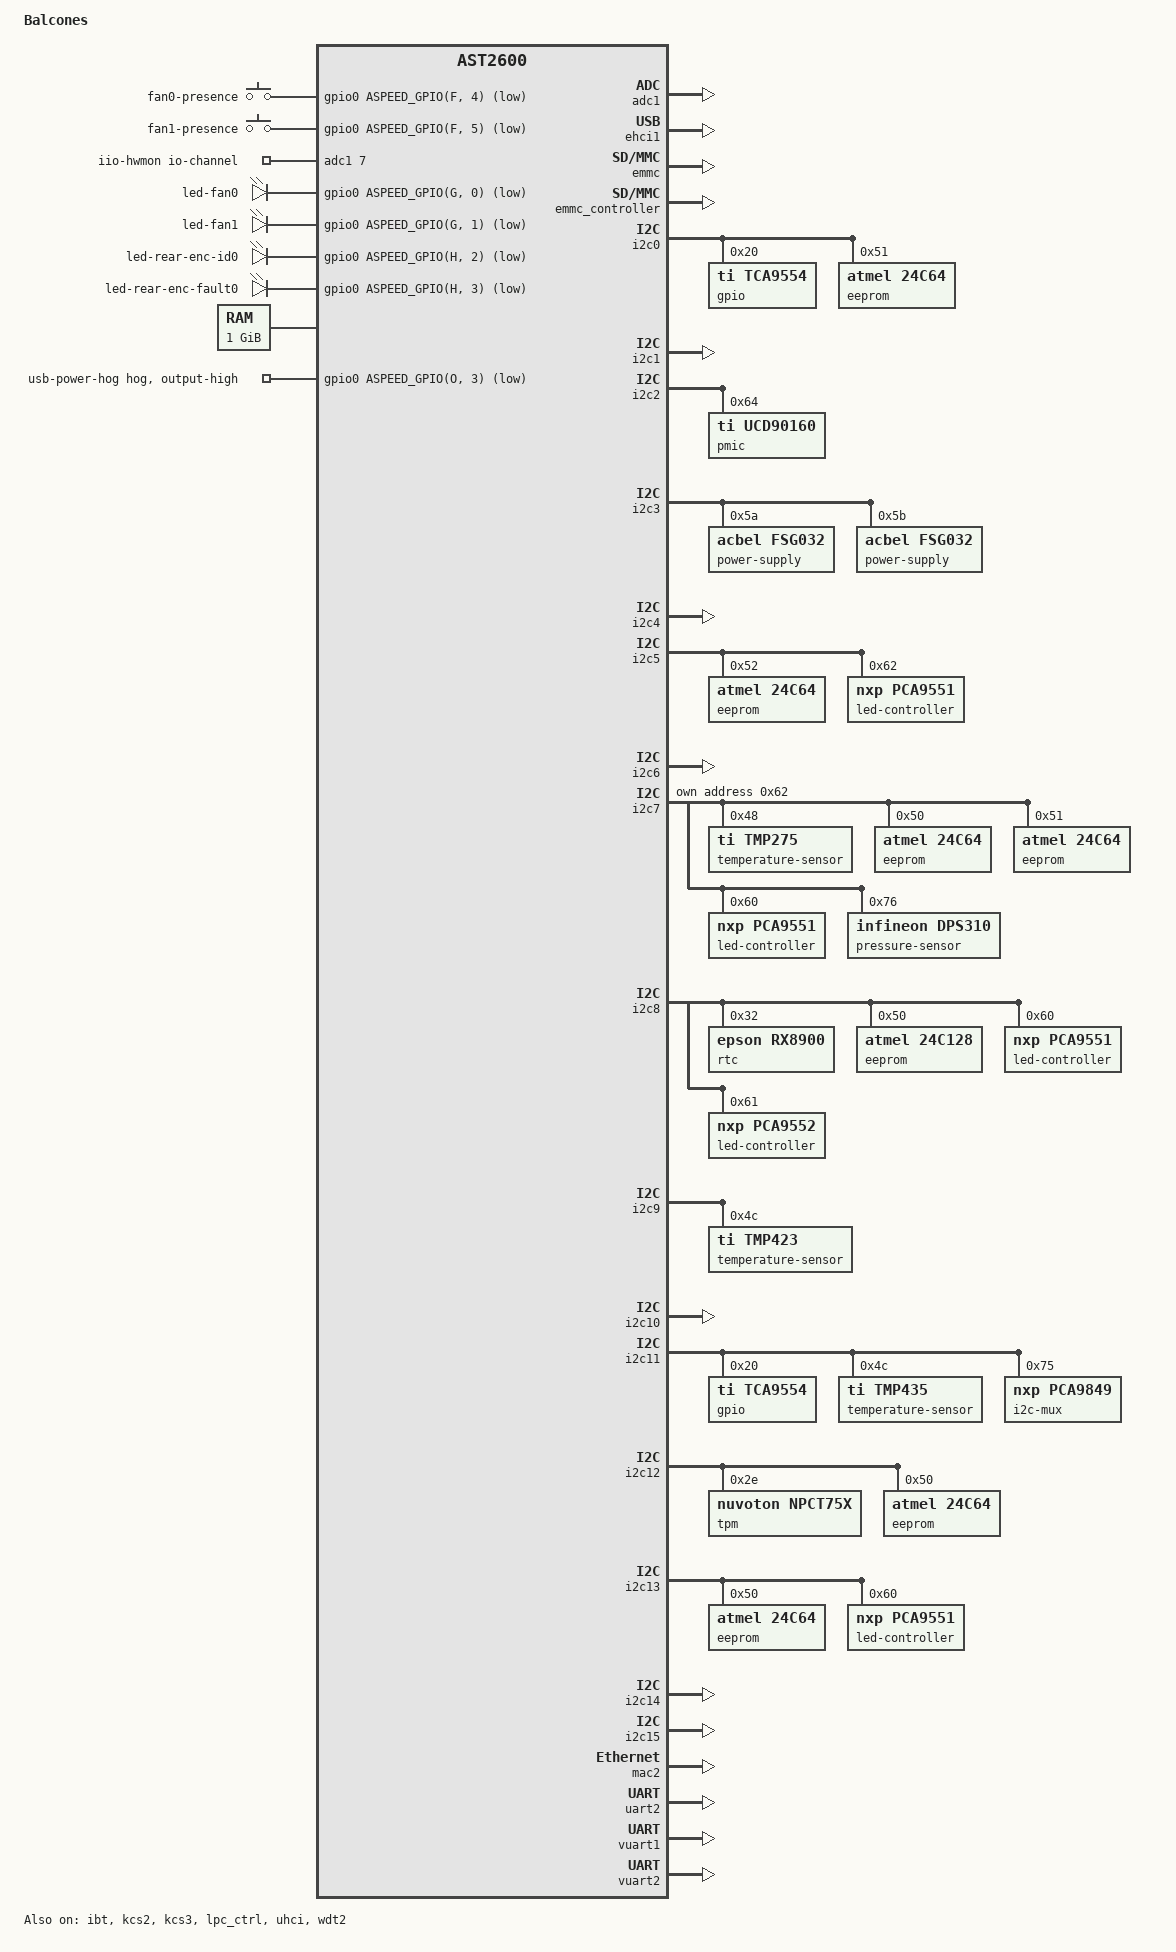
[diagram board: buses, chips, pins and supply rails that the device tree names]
// SPDX-License-Identifier: GPL-2.0-or-later
// Copyright 2025 IBM Corp.
/dts-v1/;

#include <dt-bindings/gpio/aspeed-gpio.h>
#include <dt-bindings/i2c/i2c.h>
#include <dt-bindings/leds/leds-pca955x.h>
#include "aspeed-g6.dtsi"
#include "ibm-power11-dual.dtsi"

/ {
	model = "Balcones";
	compatible = "ibm,balcones-bmc", "aspeed,ast2600";

	aliases {
		serial4 = &uart5;
		i2c16 = &i2c11mux0chn0;
		i2c17 = &i2c11mux0chn1;
		i2c18 = &i2c11mux0chn2;
		i2c19 = &i2c11mux0chn3;
	};

	chosen {
		stdout-path = &uart5;
	};

	gpio-keys-polled {
		compatible = "gpio-keys-polled";
		poll-interval = <1000>;

		event-fan0-presence {
			gpios = <&gpio0 ASPEED_GPIO(F, 4) GPIO_ACTIVE_LOW>;
			label = "fan0-presence";
			linux,code = <6>;
		};

		event-fan1-presence {
			gpios = <&gpio0 ASPEED_GPIO(F, 5) GPIO_ACTIVE_LOW>;
			label = "fan1-presence";
			linux,code = <7>;
		};
	};

	iio-hwmon {
		compatible = "iio-hwmon";
		io-channels = <&adc1 7>;
	};

	leds {
		compatible = "gpio-leds";

		led-fan0 {
			gpios = <&gpio0 ASPEED_GPIO(G, 0) GPIO_ACTIVE_LOW>;
		};

		led-fan1 {
			gpios = <&gpio0 ASPEED_GPIO(G, 1) GPIO_ACTIVE_LOW>;
		};

		led-rear-enc-id0 {
			gpios = <&gpio0 ASPEED_GPIO(H, 2) GPIO_ACTIVE_LOW>;
		};

		led-rear-enc-fault0 {
			gpios = <&gpio0 ASPEED_GPIO(H, 3) GPIO_ACTIVE_LOW>;
		};
	};

	memory@80000000 {
		device_type = "memory";
		reg = <0x80000000 0x40000000>;
	};

	reserved-memory {
		#address-cells = <1>;
		#size-cells = <1>;
		ranges;

		event_log: region@b3d00000 {
			reg = <0xb3d00000 0x100000>;
			no-map;
		};

		ramoops@b3e00000 {
			compatible = "ramoops";
			reg = <0xb3e00000 0x200000>; /* 16 * (4 * 0x8000) */
			record-size = <0x8000>;
			console-size = <0x8000>;
			ftrace-size = <0x8000>;
			pmsg-size = <0x8000>;
			max-reason = <3>; /* KMSG_DUMP_EMERG */
		};

		/* LPC FW cycle bridge region requires natural alignment */
		flash_memory: region@b4000000 {
			reg = <0xb4000000 0x04000000>; /* 64M */
			no-map;
		};

		/* VGA region is dictated by hardware strapping */
		vga_memory: region@bf000000 {
			compatible = "shared-dma-pool";
			reg = <0xbf000000 0x01000000>;  /* 16M */
			no-map;
		};
	};
};

&adc1 {
	aspeed,int-vref-microvolt = <2500000>;
	pinctrl-names = "default";
	pinctrl-0 = <&pinctrl_adc8_default &pinctrl_adc9_default
		&pinctrl_adc10_default &pinctrl_adc11_default
		&pinctrl_adc12_default &pinctrl_adc13_default
		&pinctrl_adc14_default &pinctrl_adc15_default>;
	status = "okay";
};

&ehci1 {
	status = "okay";
};

&emmc {
	clk-phase-mmc-hs200 = <180>, <180>;
	status = "okay";
};

&emmc_controller {
	status = "okay";
};

&gpio0 {
	gpio-line-names =
		/*A0-A7*/	"","","","","","","","",
		/*B0-B7*/	"","","","","","","checkstop","",
		/*C0-C7*/	"","","","","","","","",
		/*D0-D7*/	"","","","","","","","",
		/*E0-E7*/	"","","","","","","","",
		/*F0-F7*/	"","fan-ctlr-reset","rtc-battery-voltage-read-enable",
				"reset-cause-pinhole","","","","",
		/*G0-G7*/	"fan0","fan1","","","","","","",
		/*H0-H7*/	"","","rear-enc-id0","rear-enc-fault0","","","","",
		/*I0-I7*/	"","","","","","","bmc-secure-boot","",
		/*J0-J7*/	"","","","","","","","",
		/*K0-K7*/	"","","","","","","","",
		/*L0-L7*/	"","","","","","","","",
		/*M0-M7*/	"","","","","","","","",
		/*N0-N7*/	"","","","","","","","",
		/*O0-O7*/	"","","","usb-power","","","","",
		/*P0-P7*/	"","","","","","","","",
		/*Q0-Q7*/	"cfam-reset","","regulator-standby-faulted","","","","","",
		/*R0-R7*/	"bmc-tpm-reset","power-chassis-control","power-chassis-good","","",
				"","","",
		/*S0-S7*/	"presence-ps0","presence-ps1","","","power-ffs-sync-history","","",
				"",
		/*T0-T7*/	"","","","","","","","",
		/*U0-U7*/	"","","","","","","","",
		/*V0-V7*/	"","","","","","","","",
		/*W0-W7*/	"","","","","","","","",
		/*X0-X7*/	"","","","","","","","",
		/*Y0-Y7*/	"","","","","","","","",
		/*Z0-Z7*/	"","","","","","","","";

	usb-power-hog {
		gpio-hog;
		gpios = <ASPEED_GPIO(O, 3) GPIO_ACTIVE_LOW>;
		output-high;
	};
};

&i2c0 {
	status = "okay";

	gpio@20 {
		compatible = "ti,tca9554";
		reg = <0x20>;
		gpio-controller;
		#gpio-cells = <2>;

		gpio-line-names =
			"",
			"RUSSEL_FW_I2C_ENABLE_N",
			"RUSSEL_OPPANEL_PRESENCE_N",
			"BLYTH_OPPANEL_PRESENCE_N",
			"CPU_TPM_CARD_PRESENT_N",
			"",
			"",
			"DASD_BP_PRESENT_N";
	};

	eeprom@51 {
		compatible = "atmel,24c64";
		reg = <0x51>;
	};
};

&i2c1 {
	status = "okay";
};

&i2c2 {
	status = "okay";

	pmic@64 {
		compatible = "ti,ucd90160";
		reg = <0x64>;
	};
};

&i2c3 {
	status = "okay";

	power-supply@5a {
		compatible = "acbel,fsg032";
		reg = <0x5a>;
	};

	power-supply@5b {
		compatible = "acbel,fsg032";
		reg = <0x5b>;
	};
};

&i2c4 {
	status = "okay";
};

&i2c5 {
	status = "okay";

	eeprom@52 {
		compatible = "atmel,24c64";
		reg = <0x52>;
	};

	led-controller@62 {
		compatible = "nxp,pca9551";
		reg = <0x62>;
		#address-cells = <1>;
		#size-cells = <0>;
		gpio-controller;
		#gpio-cells = <2>;

		led@0 {
			reg = <0>;
			default-state = "keep";
			label = "cablecard2-cxp-top";
			retain-state-shutdown;
			type = <PCA955X_TYPE_LED>;
		};

		led@1 {
			reg = <1>;
			default-state = "keep";
			label = "cablecard2-cxp-bot";
			retain-state-shutdown;
			type = <PCA955X_TYPE_LED>;
		};
	};
};

&i2c6 {
	status = "okay";
};

&i2c7 {
	multi-master;
	status = "okay";

	temperature-sensor@48 {
		compatible = "ti,tmp275";
		reg = <0x48>;
	};

	eeprom@50 {
		compatible = "atmel,24c64";
		reg = <0x50>;
	};

	eeprom@51 {
		compatible = "atmel,24c64";
		reg = <0x51>;
	};

	pwm@53 {
		compatible = "maxim,max31785a";
		reg = <0x53>;
	};

	led-controller@60 {
		compatible = "nxp,pca9551";
		reg = <0x60>;
		#address-cells = <1>;
		#size-cells = <0>;
		gpio-controller;
		#gpio-cells = <2>;

		led@0 {
			reg = <0>;
			default-state = "keep";
			label = "front-sys-id0";
			retain-state-shutdown;
			type = <PCA955X_TYPE_LED>;
		};

		led@1 {
			reg = <1>;
			default-state = "keep";
			label = "front-check-log0";
			retain-state-shutdown;
			type = <PCA955X_TYPE_LED>;
		};

		led@2 {
			reg = <2>;
			default-state = "keep";
			label = "front-enc-fault1";
			retain-state-shutdown;
			type = <PCA955X_TYPE_LED>;
		};

		led@3 {
			reg = <3>;
			default-state = "keep";
			label = "front-sys-pwron0";
			retain-state-shutdown;
			type = <PCA955X_TYPE_LED>;
		};
	};

	lcd-controller@62 {
		compatible = "ibm,op-panel";
		reg = <(0x62 | I2C_OWN_SLAVE_ADDRESS)>;
	};

	pressure-sensor@76 {
		compatible = "infineon,dps310";
		reg = <0x76>;
		#io-channel-cells = <0>;
	};
};

&i2c8 {
	status = "okay";

	rtc@32 {
		compatible = "epson,rx8900";
		reg = <0x32>;
	};

	eeprom@50 {
		compatible = "atmel,24c128";
		reg = <0x50>;
	};

	led-controller@60 {
		compatible = "nxp,pca9551";
		reg = <0x60>;
		#address-cells = <1>;
		#size-cells = <0>;
		gpio-controller;
		#gpio-cells = <2>;

		gpio-line-names =
			"",
			"APSS_RESET_N",
			"",
			"N_MODE_CPU_N",
			"",
			"",
			"P10_DCM_PRESENT",
			"";
	};

	led-controller@61 {
		compatible = "nxp,pca9552";
		reg = <0x61>;
		#address-cells = <1>;
		#size-cells = <0>;
		gpio-controller;
		#gpio-cells = <2>;

		gpio-line-names =
			"",
			"",
			"SLOT2_PRSNT_EN_RSVD",
			"",
			"",
			"",
			"",
			"SLOT2_EXPANDER_PRSNT_N",
			"",
			"",
			"",
			"",
			"",
			"",
			"",
			"";
	};
};

&i2c9 {
	status = "okay";

	temperature-sensor@4c {
		compatible = "ti,tmp423";
		reg = <0x4c>;
	};
};

&i2c10 {
	status = "okay";
};

&i2c11 {
	status = "okay";

	gpio@20 {
		compatible = "ti,tca9554";
		reg = <0x20>;
		gpio-controller;
		#gpio-cells = <2>;

		gpio-line-names =
			"BOOT_RCVRY_TWI",
			"BOOT_RCVRY_UART",
			"",
			"",
			"",
			"",
			"",
			"PE_SWITCH_RSTB_N";
	};

	temperature-sensor@4c {
		compatible = "ti,tmp435";
		reg = <0x4c>;
	};

	i2c-mux@75 {
		compatible = "nxp,pca9849";
		reg = <0x75>;
		#address-cells = <1>;
		#size-cells = <0>;
		i2c-mux-idle-disconnect;

		i2c11mux0chn0: i2c@0 {
			reg = <0>;
			#address-cells = <1>;
			#size-cells = <0>;
		};

		i2c11mux0chn1: i2c@1 {
			reg = <1>;
			#address-cells = <1>;
			#size-cells = <0>;
		};

		i2c11mux0chn2: i2c@2 {
			reg = <2>;
			#address-cells = <1>;
			#size-cells = <0>;
		};

		i2c11mux0chn3: i2c@3 {
			reg = <3>;
			#address-cells = <1>;
			#size-cells = <0>;
		};
	};
};

&i2c12 {
	status = "okay";

	tpm@2e {
		compatible = "nuvoton,npct75x", "tcg,tpm-tis-i2c";
		reg = <0x2e>;
		memory-region = <&event_log>;
	};

	eeprom@50 {
		compatible = "atmel,24c64";
		reg = <0x50>;
	};
};

&i2c13 {
	status = "okay";

	eeprom@50 {
		compatible = "atmel,24c64";
		reg = <0x50>;
	};

	led-controller@60 {
		compatible = "nxp,pca9551";
		reg = <0x60>;
		#address-cells = <1>;
		#size-cells = <0>;
		gpio-controller;
		#gpio-cells = <2>;

		led@0 {
			reg = <0>;
			default-state = "keep";
			label = "nvme3";
			retain-state-shutdown;
			type = <PCA955X_TYPE_LED>;
		};

		led@1 {
			reg = <1>;
			default-state = "keep";
			label = "nvme2";
			retain-state-shutdown;
			type = <PCA955X_TYPE_LED>;
		};

		led@2 {
			reg = <2>;
			default-state = "keep";
			label = "nvme1";
			retain-state-shutdown;
			type = <PCA955X_TYPE_LED>;
		};

		led@3 {
			reg = <3>;
			default-state = "keep";
			label = "nvme0";
			retain-state-shutdown;
			type = <PCA955X_TYPE_LED>;
		};
	};
};

&i2c14 {
	status = "okay";
};

&i2c15 {
	status = "okay";
};

&ibt {
	status = "okay";
};

&kcs2 {
	aspeed,lpc-io-reg = <0xca8 0xcac>;
	status = "okay";
};

&kcs3 {
	aspeed,lpc-io-reg = <0xca2>;
	aspeed,lpc-interrupts = <11 IRQ_TYPE_LEVEL_LOW>;
	status = "okay";
};

&lpc_ctrl {
	memory-region = <&flash_memory>;
	status = "okay";
};

&mac2 {
	clocks = <&syscon ASPEED_CLK_GATE_MAC3CLK>,
		 <&syscon ASPEED_CLK_MAC3RCLK>;
	clock-names = "MACCLK", "RCLK";
	pinctrl-names = "default";
	pinctrl-0 = <&pinctrl_rmii3_default>;
	use-ncsi;
	status = "okay";
};

&pinctrl_emmc_default {
	bias-disable;
};

&uart2 {
	status = "okay";
};

&uhci {
	status = "okay";
};

&vuart1 {
	status = "okay";
};

&vuart2 {
	status = "okay";
};

&wdt1 {
	aspeed,reset-type = "none";
	aspeed,external-signal;
	aspeed,ext-push-pull;
	aspeed,ext-active-high;

	pinctrl-names = "default";
	pinctrl-0 = <&pinctrl_wdtrst1_default>;
};

&wdt2 {
	status = "okay";
};
